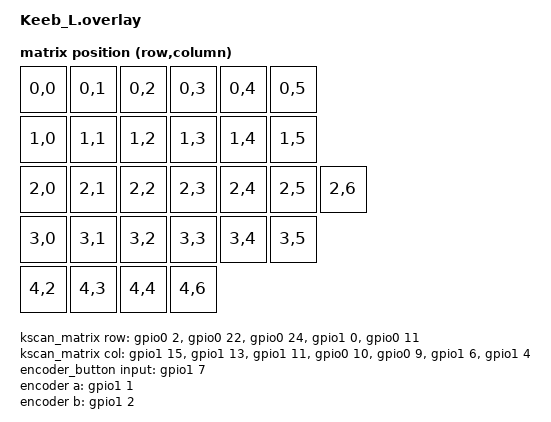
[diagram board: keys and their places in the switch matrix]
	#include <dt-bindings/zmk/matrix_transform.h>
#include <zephyr/dt-bindings/i2c/i2c.h>
#include <zephyr/dt-bindings/pinctrl/nrf-pinctrl.h>

/ {
	chosen {
		zmk,kscan = &kscan_matrix;
		zmk,matrix-transform = &default_transform;
		zephyr,display = &oled;
	};

	/*
	 * ============================================================
	 * 29-KEY MATRIX
	 * ============================================================
	 *
	 * Diodes:
	 * COLUMN -> DIODE -> ROW
	 *
	 * Physical columns, left -> right:
	 *
	 * C1 = P1.15
	 * C2 = P1.13
	 * C3 = P1.11
	 * C4 = P0.10
	 * C5 = P0.09
	 * C6 = P1.06
	 * C7 = P1.04
	 *
	 * Physical rows, top -> bottom:
	 *
	 * R1 = P0.02
	 * R2 = P0.22
	 * R3 = P0.24
	 * R4 = P1.00
	 * R5 = P0.11
	 */

	kscan_matrix: kscan_matrix {
		compatible = "zmk,kscan-gpio-matrix";

		diode-direction = "col2row";

		/* Rows */
		row-gpios =
			<&gpio0 2  (GPIO_ACTIVE_HIGH | GPIO_PULL_DOWN)>,
			<&gpio0 22 (GPIO_ACTIVE_HIGH | GPIO_PULL_DOWN)>,
			<&gpio0 24 (GPIO_ACTIVE_HIGH | GPIO_PULL_DOWN)>,
			<&gpio1 0  (GPIO_ACTIVE_HIGH | GPIO_PULL_DOWN)>,
			<&gpio0 11 (GPIO_ACTIVE_HIGH | GPIO_PULL_DOWN)>;

		/* Columns */
		col-gpios =
			<&gpio1 15 GPIO_ACTIVE_HIGH>,
			<&gpio1 13 GPIO_ACTIVE_HIGH>,
			<&gpio1 11 GPIO_ACTIVE_HIGH>,
			<&gpio0 10 GPIO_ACTIVE_HIGH>,
			<&gpio0 9  GPIO_ACTIVE_HIGH>,
			<&gpio1 6  GPIO_ACTIVE_HIGH>,
			<&gpio1 4  GPIO_ACTIVE_HIGH>;

		/* EC11 rotation */
		sensors {
			compatible = "zmk,keymap-sensors";
			sensors = <&encoder>;
		};
	};


	/*
	 * ============================================================
	 * EC11 PUSH BUTTON
	 * ============================================================
	 *
	 * P1.07 -> SWITCH -> GND
	 *
	 * This button is separate from the 29-key matrix.
	 */

	encoder_button: encoder_button {
		compatible = "zmk,kscan-gpio-direct";

		input-gpios = <
			&gpio1 7 (GPIO_ACTIVE_LOW | GPIO_PULL_UP)
		>;

		debounce-press-ms = <10>;
		debounce-release-ms = <10>;
	};


	/*
	 * ============================================================
	 * ENCODER BUTTON -> LAYER TOGGLE
	 * ============================================================
	 *
	 * P1.07:
	 *
	 * Press 1: L1 -> L2
	 * Press 2: L2 -> L1
	 */

	sideband: sideband {
		compatible = "zmk,kscan-sideband-behaviors";

		kscan = <&encoder_button>;

		auto-enable;

		encoder_layer {
			row = <0>;
			column = <0>;
			bindings = <&tog 1>;
		};
	};


	/*
	 * ============================================================
	 * MATRIX TRANSFORM
	 * ============================================================
	 *
	 * Physical layout:
	 *
	 * R1: C1 C2 C3 C4 C5 C6
	 * R2: C1 C2 C3 C4 C5 C6
	 * R3: C1 C2 C3 C4 C5 C6 C7
	 * R4: C1 C2 C3 C4 C5 C6
	 * R5:       C3 C4 C5    C7
	 *
	 * 29 keys total.
	 */

	default_transform: matrix_transform {
		compatible = "zmk,matrix-transform";

		columns = <7>;
		rows = <5>;

		map = <
			/* R1 */
			RC(0,0) RC(0,1) RC(0,2) RC(0,3) RC(0,4) RC(0,5)

			/* R2 */
			RC(1,0) RC(1,1) RC(1,2) RC(1,3) RC(1,4) RC(1,5)

			/* R3 */
			RC(2,0) RC(2,1) RC(2,2) RC(2,3) RC(2,4) RC(2,5) RC(2,6)

			/* R4 */
			RC(3,0) RC(3,1) RC(3,2) RC(3,3) RC(3,4) RC(3,5)

			/* R5 */
			RC(4,2) RC(4,3) RC(4,4) RC(4,6)
		>;
	};


	/*
	 * ============================================================
	 * EC11 ROTARY ENCODER
	 * ============================================================
	 *
	 * A / CLK = P1.01
	 * B / DT  = P1.02
	 * Push   = P1.07
	 */

	encoder: encoder {
		compatible = "alps,ec11";

		a-gpios = <&gpio1 1 (GPIO_ACTIVE_HIGH | GPIO_PULL_UP)>;
		b-gpios = <&gpio1 2 (GPIO_ACTIVE_HIGH | GPIO_PULL_UP)>;

		steps = <50>;

		status = "okay";
	};
};


/*
 * ================================================================
 * I2C / OLED
 * ================================================================
 *
 * SDA = P0.17
 * SCL = P0.20
 * Address = 0x3C
 * Size = 128x32
 */

&pinctrl {
	i2c0_default: i2c0_default {
		group1 {
			psels =
				<NRF_PSEL(TWIM_SDA, 0, 17)>,
				<NRF_PSEL(TWIM_SCL, 0, 20)>;
		};
	};

	i2c0_sleep: i2c0_sleep {
		group1 {
			psels =
				<NRF_PSEL(TWIM_SDA, 0, 17)>,
				<NRF_PSEL(TWIM_SCL, 0, 20)>;

			low-power-enable;
		};
	};
};


&i2c0 {
	status = "okay";

	pinctrl-0 = <&i2c0_default>;
	pinctrl-1 = <&i2c0_sleep>;
	pinctrl-names = "default", "sleep";

	clock-frequency = <I2C_BITRATE_STANDARD>;

	oled: ssd1306@3c {
		compatible = "solomon,ssd1306fb";

		reg = <0x3c>;

		width = <128>;
		height = <32>;

		segment-offset = <0>;
		page-offset = <0>;
		display-offset = <0>;

		multiplex-ratio = <31>;

		com-sequential;

		prechargep = <0x22>;

		status = "okay";
	};
};
